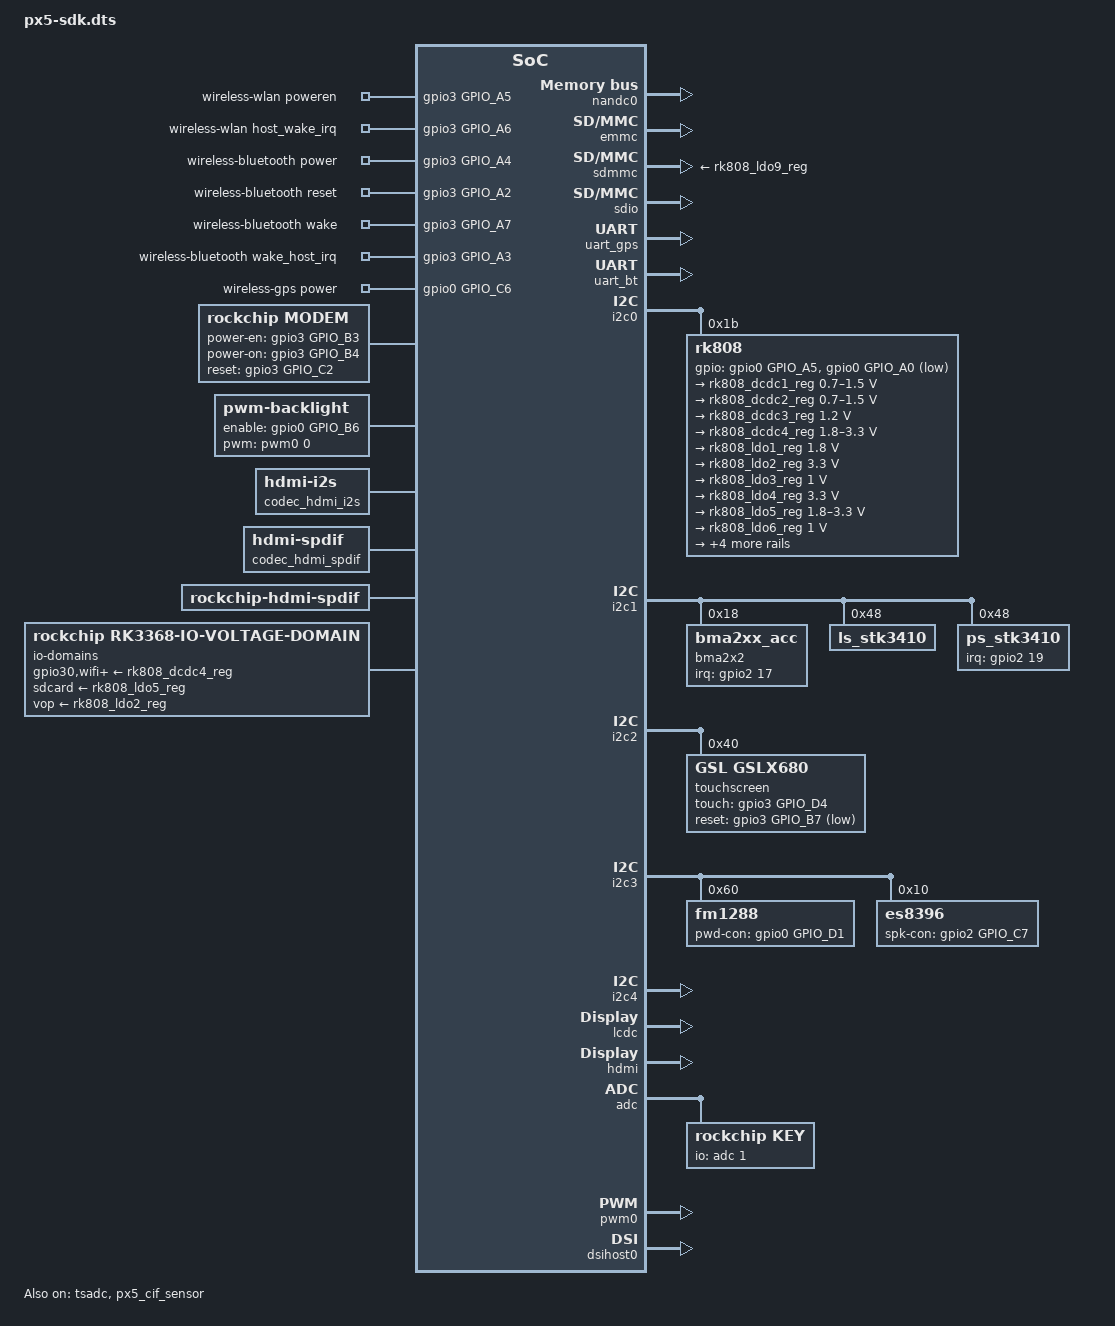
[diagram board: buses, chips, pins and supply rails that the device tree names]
/dts-v1/;

#include <dt-bindings/interrupt-controller/arm-gic.h>
#include <dt-bindings/rkfb/rk_fb.h>
#include "px5.dtsi"
//#include <../../../arm/boot/dts/lcd-claa070wp03xg.dtsi>
//#include <../../../arm/boot/dts/lcd-kd080d24h6-mipi.dtsi>
#include <../../../arm/boot/dts/lcd-kd080d34b6-mipi.dtsi>
#include "px5-cif-sensor.dtsi"
#include <dt-bindings/suspend/rockchip-px5.h>
#include <dt-bindings/touchscreen_type.h>

/ {
	chosen {
		bootargs = "earlyprintk=uart8250-32bit,0xff1c0000";
	};

	fiq-debugger {
		rockchip,serial-id = <4>;
		pinctrl-names = "default";
		pinctrl-0 = <&uart4_xfer>;
		status = "okay";
	};

	wireless-wlan {
		compatible = "wlan-platdata";
		rockchip,grf = <&grf>;

		/* wifi_chip_type - wifi chip define
		* ap6210, ap6330, ap6335
		* rtl8188eu, rtl8723bs, rtl8723bu
		* esp8089
		*/
		wifi_chip_type = "rtl8723bs_vq0";

		sdio_vref = <3300>; //1800mv or 3300mv

		//keep_wifi_power_on;

		//power_ctrl_by_pmu;
 		power_pmu_regulator = "vccio";
		power_pmu_enable_level = <1>; //1->HIGH, 0->LOW

		//vref_ctrl_enable;
		//vref_ctrl_gpio = <&gpio0 GPIO_A2 GPIO_ACTIVE_HIGH>;
		vref_pmu_regulator = "vccio";
		vref_pmu_enable_level = <1>; //1->HIGH, 0->LOW

		WIFI,poweren_gpio = <&gpio3 GPIO_A5 GPIO_ACTIVE_HIGH>;
		WIFI,host_wake_irq = <&gpio3 GPIO_A6 GPIO_ACTIVE_HIGH>;
		//WIFI,reset_gpio = <&gpio0 GPIO_A2 GPIO_ACTIVE_LOW>;

		status = "okay";
	};

	wireless-bluetooth {
		compatible = "bluetooth-platdata";

		//wifi-bt-power-toggle;
		keep_bt_power_on;

		//uart_rts_gpios = <&gpio2 GPIO_D3 GPIO_ACTIVE_LOW>;
		//pinctrl-names = "default","rts_gpio";
		//pinctrl-0 = <&uart0_rts>;
		//pinctrl-1 = <&uart0_rts_gpio>;

		BT,power_gpio = <&gpio3 GPIO_A4 GPIO_ACTIVE_HIGH>;
		BT,reset_gpio = <&gpio3 GPIO_A2 GPIO_ACTIVE_HIGH>;
		BT,wake_gpio = <&gpio3 GPIO_A7 GPIO_ACTIVE_HIGH>;
		BT,wake_host_irq = <&gpio3 GPIO_A3 GPIO_ACTIVE_HIGH>;

		status = "okay";
	};

	wireless-gps {
		compatible = "gps-platdata";
		keep_gps_power_on;
		GPS,power_gpio = <&gpio0 GPIO_C6 GPIO_ACTIVE_HIGH>;
		status = "okay";
	};

	modem {
		compatible = "rockchip,modem";
		status = "okay";
		power-en_gpio = <&gpio3 GPIO_B3 GPIO_ACTIVE_HIGH>;
		power-on_gpio = <&gpio3 GPIO_B4 GPIO_ACTIVE_HIGH>;
		reset_gpio = <&gpio3 GPIO_C2 GPIO_ACTIVE_HIGH>;
	};

	backlight: backlight {
		compatible = "pwm-backlight";
		pwms = <&pwm0 0 25000>;
		brightness-levels = <0 1 2 3 4 5 6 7 8 9 10 11 12 13 14 15 16 17 18
			19 20 21 22 23 24 25 26 27 28 29 30 31 32 33 34 35 36 37 38 39 40 41
			42 43 44 45 46 47 48 49 50 51 52 53 54 55 56 57 58 59 60 61 62 63 64
			65 66 67 68 69 70 71 72 73 74 75 76 77 78 79 80 81 82 83 84 85 86 87
			88 89 90 91 92 93 94 95 96 97 98 99 100 101 102 103 104 105 106 107 108 109
			110 111 112 113 114 115 116 117 118 119 120 121 122 123 124 125 126 127 128
			129 130 131 132 133 134 135 136 137 138 139 140 141 142 143 144 145 146 147
			148 149 150 151 152 153 154 155 156 157 158 159 160 161 162 163 164 165 166
			167 168 169 170 171 172 173 174 175 176 177 178 179 180 181 182 183 184 185
			186 187 188 189 190 191 192 193 194 195 196 197 198 199 200 201 202 203 204
			205 206 207 208 209 210 211 212 213 214 215 216 217 218 219 220 221 222 223
			224 225 226 227 228 229 230 231 232 233 234 235 236 237 238 239 240 241 242
			243 244 245 246 247 248 249 250 251 252 253 254 255>;
		default-brightness-level = <200>;
		enable-gpios = <&gpio0 GPIO_B6 GPIO_ACTIVE_HIGH>;
	};

	codec_hdmi_i2s: codec-hdmi-i2s {
		compatible = "hdmi-i2s";
	};

	codec_hdmi_spdif: codec-hdmi-spdif {
		compatible = "hdmi-spdif";
	};

	gpio-det {
		compatible = "gpio-detection";
		status = "okay";

		pinctrl-0 = <&gpio3_b1 &gpio3_b2>;
		pinctrl-names = "default";
		car-reverse {
			gpios = <&gpio3 GPIO_B2 GPIO_ACTIVE_LOW>;
			linux,debounce-ms = <5>;
			label = "car-reverse";
			gpio,wakeup;
		};

		car-acc {
			gpios = <&gpio3 GPIO_B1 GPIO_ACTIVE_LOW>;
			linux,debounce-ms = <5>;
			label = "car-acc";
			gpio,wakeup;
		};
	};

	rockchip-hdmi-i2s {
		compatible = "rockchip-hdmi-i2s";
		dais {
			dai0 {
				audio-codec = <&codec_hdmi_i2s>;
				audio-controller = <&i2s0>;
				format = "i2s";
				//continuous-clock;
				//bitclock-inversion;
				//frame-inversion;
				//bitclock-master;
				//frame-master;
			};
		};
	};

	rockchip-hdmi-spdif {
		compatible = "rockchip-hdmi-spdif";
		dais {
			dai0 {
				audio-codec = <&codec_hdmi_spdif>;
				audio-controller = <&spdif>;
			};
		};
	};

	rockchip-es8396 {
		compatible = "rockchip-es8396";
		dais {
			dai0 {
				audio-codec = <&es8396>;
				audio-controller = <&i2s0>;
				format = "i2s";
			};
			dai1 {
				audio-codec = <&es8396>;
				audio-controller = <&i2s0>;
				format = "i2s";
			};
		};
	};

	io-domains {
		compatible = "rockchip,rk3368-io-voltage-domain";
		rockchip,grf = <&grf>;
		rockchip,pmugrf = <&pmugrf>;

		/*GRF_IO_VSEL*/
		gpio30-supply = <&rk808_dcdc4_reg>;	/*APIO1_VDD*/
		wifi-supply = <&rk808_dcdc4_reg>;     /*APIO2_VDD*/
		audio-supply = <&rk808_dcdc4_reg>;   /*APIO3_VDD*/
		gpio1830-supply = <&rk808_dcdc4_reg>;	/*APIO4_VDD*/
		sdcard-supply = <&rk808_ldo5_reg>;   /*SDMMC_VDD*/

		/*PMU_GRF_IO_VSEL*/
		pmu-supply = <&rk808_dcdc4_reg>;      /*PMUIO_VDD*/
		vop-supply = <&rk808_ldo2_reg>;      /*LCDC_VDD*/
	};
	test-power{
		status = "okay";
	};
};


&gmac_clkin {
	clock-frequency = <125000000>;
};

&pinctrl {
	//used for init some gpio
	init-gpios = <&gpio0 GPIO_A6 GPIO_ACTIVE_HIGH>, <&gpio0 GPIO_A3 GPIO_ACTIVE_LOW>;

	gpio0_gpio {
		gpio0_c7: gpio0-c7 {
			rockchip,pins = <0 GPIO_C7 RK_FUNC_GPIO &pcfg_pull_down>;
		};
		gpio0_a3: gpio0-a3 {
			rockchip,pins = <0 GPIO_A3 RK_FUNC_3 &pcfg_pull_none>;
		};
		gpio0_c2: gpio0-c2 {
			rockchip,pins = <0 GPIO_C2 RK_FUNC_GPIO &pcfg_pull_down>;
		};
		gpio0_c1: gpio0-c1 {
			rockchip,pins = <0 GPIO_C1 RK_FUNC_GPIO &pcfg_pull_up>;
		};
		gpio2_c1: gpio2-c1 {
			rockchip,pins = <2 GPIO_C1 RK_FUNC_GPIO &pcfg_pull_up>;
		};
		gpio2_c3: gpio2-c3 {
			rockchip,pins = <2 GPIO_C3 RK_FUNC_GPIO &pcfg_pull_up>;
		};

		gpio3_b1: gpio3-b1 {
			rockchip,pins = <3 GPIO_B1 RK_FUNC_GPIO &pcfg_pull_up>;
		};

		gpio3_b2: gpio3-b2 {
			rockchip,pins = <3 GPIO_B2 RK_FUNC_GPIO &pcfg_pull_up>;
		};
		//to add
	};

};

&nandc0 {
	/*set "okay" both nand and emmc*/
	/*if using nand,emmc need disabled*/
	status = "okay";
};

&nandc0reg {
	status = "disabled"; /* unused now,set "disabled"*/
};

&emmc {
	clock-frequency = <150000000>;
	clock-freq-min-max = <400000 150000000>;

	supports-highspeed;
	supports-emmc;
	bootpart-no-access;

	//supports-sd;
	supports-DDR_MODE; //you should set the two value in your project. only close in RK3288-SDK board.
	caps2-mmc-hs200;

	ignore-pm-notify;
	keep-power-in-suspend;

	//poll-hw-reset
	status = "okay";
};

&sdmmc {
	clock-frequency = <37500000>;
	clock-freq-min-max = <400000 37500000>;
	supports-highspeed;
	supports-sd;
	broken-cd;
	card-detect-delay = <200>;

	ignore-pm-notify;
	keep-power-in-suspend;

	vmmc-supply = <&rk808_ldo9_reg>;
	status = "okay";
};

&sdio {
	clock-frequency = <50000000>;
	clock-freq-min-max = <200000 50000000>;
	supports-highspeed;
	supports-sdio;
	ignore-pm-notify;
	keep-power-in-suspend;
	//cap-sdio-irq;
	status = "okay";
};

&uart_gps {
	status = "okay";
	dma-names = "!tx", "!rx";
	pinctrl-0 = <&uart0_xfer &uart0_cts>;
};

&uart_bt {
	status = "okay";
	dma-names = "!tx", "!rx";
	pinctrl-0 = <&uart1_xfer &uart1_cts>;
};

&tsadc {
	tsadc-tshut-mode = <0>; /* tshut mode 0:CRU 1:GPIO */
	//tsadc-tshut-polarity = <0>; /* tshut polarity 0:LOW 1:HIGH */
	status = "okay";
};

&i2c0 {
	status = "okay";

	rk808: rk808@1b {
		reg = <0x1b>;
		status = "okay";
	};
};

&i2c1 {
	status = "okay";

	bma2x2:bma250@18 {
		compatible = "bma2xx_acc";
		reg = <0x18>;
		type = <SENSOR_TYPE_ACCEL>;
		pinctrl-names = "default";
		pinctrl-0 = <&gpio2_c1>;
		irq-gpio = <&gpio2 17 IRQ_TYPE_LEVEL_LOW>;
		irq_enable = <1>;
		poll_delay_ms = <200>;
		layout = <6>;
	};

	ls_stk3410:light@48 {
		compatible = "ls_stk3410";
		reg = <0x48>;
		type = <SENSOR_TYPE_LIGHT>;
		//pinctrl-names = "default";
		//pinctrl-0 = <&gpio2_c3>;
		//irq-gpio = <&gpio2 19 IRQ_TYPE_LEVEL_LOW>;
		irq_enable = <0>;
		als_threshold_high = <100>;
		als_threshold_low = <10>;
		als_ctrl_gain = <2>; /* 0:x1 1:x4 2:x16 3:x64 */
		poll_delay_ms = <100>;
	};

	ps_stk3410:proximity@48 {
		compatible = "ps_stk3410";
		reg = <0x48>;
		type = <SENSOR_TYPE_PROXIMITY>;
		pinctrl-names = "default";
		pinctrl-0 = <&gpio2_c3>;
		irq-gpio = <&gpio2 19 IRQ_TYPE_LEVEL_LOW>;
		irq_enable = <1>;
		ps_threshold_high = <0x200>;
		ps_threshold_low = <0x100>;
		ps_ctrl_gain = <3>; /* 0:x1 1:x4 2:x16 3:x64 */
		ps_led_current = <3>; /* 0:12.5mA 1:25mA 2:50mA 3:100mA */
		poll_delay_ms = <100>;
	};
};

&i2c2 {
	status = "okay";

	touchscreen@40{
		compatible = "GSL,GSLX680";
		reg = <0x40>;
		touch-gpio = <&gpio3 GPIO_D4 IRQ_TYPE_EDGE_RISING>;
		reset-gpio = <&gpio3 GPIO_B7 GPIO_ACTIVE_LOW>;
		touchscreen-type = <TOUCHSCREEN_INCH_8>;
		status = "okay";
	};
};

&i2c3 {
	status = "okay";

	fm1288@60{
		compatible = "fm1288";
		reg = <0x60>;
		pwd-con-gpio = <&gpio0 GPIO_D1 GPIO_ACTIVE_HIGH>;
		status = "okay";
	};

	es8396: es8396@10 {
		compatible = "es8396";
		reg = <0x10>;
		spk-con-gpio = <&gpio2 GPIO_C7 GPIO_ACTIVE_HIGH>;
		status = "okay";
	};
};

&i2c4 {
	status = "okay";
};

&i2c5 {
	status = "disabled";
};

&lvds {
	status = "disabled";
};

&fb {
	rockchip,disp-mode = <NO_DUAL>;
	rockchip,uboot-logo-on = <0>;
};

&rk_screen {
	display-timings = <&disp_timings>;
};

&lcdc {
	status = "okay";
	backlight = <&backlight>;
	rockchip,mirror = <NO_MIRROR>;
	rockchip,cabc_mode = <0>;
	rockchip,fb-win-map = <FB_DEFAULT_ORDER>;
	power_ctr: power_ctr {
		rockchip,debug = <0>;

		lcd_18: lcd_18 {
			rockchip,power_type = <GPIO>;
			gpios = <&gpio2 GPIO_D3 GPIO_ACTIVE_HIGH>;
			rockchip,delay = <10>;
		};

		lcd_33: lcd_33 {
			rockchip,power_type = <REGULATOR>;
			rockchip,regulator_name = "vcc33_lcd";
			rockchip,regulator_voltage = <33000000>;
			rockchip,delay = <5>;
		};
/*
		lcd_cs:lcd_cs {
			rockchip,power_type = <GPIO>;
			gpios = <&gpio0 GPIO_C5 GPIO_ACTIVE_HIGH>;
			rockchip,delay = <10>;
		};
*/
		/*lcd_rst:lcd_rst {
			rockchip,power_type = <GPIO>;
			gpios = <&gpio3 GPIO_D6 GPIO_ACTIVE_HIGH>;
			rockchip,delay = <5>;
		};*/
	};
};

&hdmi {
	status = "okay";
};

&adc {
	status = "okay";

	key {
		compatible = "rockchip,key";
		io-channels = <&adc 1>;

		vol-up-key {
			linux,code = <115>;
			label = "volume up";
			rockchip,adc_value = <1>;
		};

		vol-down-key {
			linux,code = <114>;
			label = "volume down";
			rockchip,adc_value = <170>;
		};

		power-key {
			gpios = <&gpio0 GPIO_A2 GPIO_ACTIVE_LOW>;
			linux,code = <116>;
			label = "power";
			gpio-key,wakeup;
		};

		menu-key {
			linux,code = <59>;
			label = "menu";
			rockchip,adc_value = <355>;
		};

		home-key {
			linux,code = <102>;
			label = "home";
			rockchip,adc_value = <746>;
		};

		back-key {
			linux,code = <158>;
			label = "back";
			rockchip,adc_value = <560>;
		};

		camera-key {
			linux,code = <212>;
			label = "camera";
			rockchip,adc_value = <880>;
		};
	};
};

&pwm0 {
	status = "okay";
};

&clk_core_b_dvfs_table {
	operating-points = <
		/* KHz    uV */
		216000 950000
		312000 950000
		408000 950000
		600000 950000
		696000 950000
		816000 975000
		1008000 1050000
		1200000 1150000
		1296000 1225000
		1416000 1300000
		1512000 1350000
	>;
	support-pvtm = <0>;
	pvtm-operating-points = <
		/* KHz    uV    margin(uV)*/
		216000 950000   25000
		312000 950000   25000
		408000 950000   25000
		600000 950000   25000
		696000 950000   25000
		816000 975000   25000
		1008000 1050000 25000
		1200000 1150000 25000
		1296000 1225000 25000
		1416000 1300000 25000
		1512000 1350000 25000
	>;
	status = "okay";
};

&clk_core_l_dvfs_table {
	operating-points = <
		/* KHz    uV */
		216000 950000
		312000 950000
		408000 950000
		600000 950000
		696000 975000
		816000 1025000
		1008000 1125000
		1200000 1225000
	>;
	support-pvtm = <0>;
	pvtm-operating-points = <
		/* KHz    uV    margin(uV)*/
		216000 950000   25000
		312000 950000   25000
		408000 950000   25000
		600000 950000   25000
		696000 975000   25000
		816000 1025000  25000
		1008000 1125000 25000
		1200000 1225000 25000
	>;
	status = "okay";
};

&clk_gpu_dvfs_table {
	operating-points = <
		/* KHz    uV */
		200000 950000
		288000 1025000
		400000 1050000
		576000 1200000
	>;
};

&clk_ddr_dvfs_table {
	operating-points = <
		/* KHz    uV */
		96000  950000
		192000 950000
		300000 950000
		324000 975000
		396000 1000000
		528000 1050000
		600000 1075000
		696000 1100000
		792000 1125000
	>;

	freq-table = <
		/*status		freq(KHz)*/
		SYS_STATUS_NORMAL	600000
		SYS_STATUS_SUSPEND	192000
		SYS_STATUS_VIDEO_1080P  324000
		SYS_STATUS_VIDEO_4K     600000
		SYS_STATUS_VIDEO_4K_60FPS     600000
		SYS_STATUS_PERFORMANCE  600000
		SYS_STATUS_DUALVIEW	600000
		SYS_STATUS_BOOST	396000
		SYS_STATUS_ISP		600000
	>;
	auto-freq-table = <
		240000
		324000
		396000
		528000
	>;
	auto-freq=<0>;
	status="okay";
};

&dwc_control_usb {
	/*host_drv_gpio = <&gpio0 GPIO_A4 GPIO_ACTIVE_LOW>;*/
	otg_drv_gpio = <&gpio0 GPIO_A4 GPIO_ACTIVE_LOW>;

	rockchip,remote_wakeup;
	rockchip,usb_irq_wakeup;
};

/include/ "../../../arm/boot/dts/rk808.dtsi"
&rk808 {
	pinctrl-names = "default";
	pinctrl-0 = <&pmic_int>;
	gpios = <&gpio0 GPIO_A5 GPIO_ACTIVE_HIGH>,<&gpio0 GPIO_A0 GPIO_ACTIVE_LOW>;
	rk808,system-power-controller;

	regulators {
		rk808_dcdc1_reg: regulator@0{
			regulator-name= "vdd_arm";
			regulator-min-microvolt = <700000>;
			regulator-max-microvolt = <1500000>;
			regulator-always-on;
			regulator-boot-on;
			regulator-initial-mode = <0x2>;
			regulator-initial-state = <3>;
			regulator-state-mem {
				regulator-state-mode = <0x2>;
				regulator-state-disabled;
				regulator-state-uv = <900000>;
			};
		};

		rk808_dcdc2_reg: regulator@1 {
			regulator-name= "vdd_logic";
			regulator-min-microvolt = <700000>;
			regulator-max-microvolt = <1500000>;
			regulator-always-on;
			regulator-boot-on;
			regulator-initial-mode = <0x2>;
			regulator-initial-state = <3>;
			regulator-state-mem {
				regulator-state-mode = <0x2>;
				regulator-state-enabled;
				regulator-state-uv = <900000>;
			};
		};

		rk808_dcdc3_reg: regulator@2 {
			regulator-name= "vcc_ddr";
			regulator-min-microvolt = <1200000>;
			regulator-max-microvolt = <1200000>;
			regulator-always-on;
			regulator-boot-on;
			regulator-initial-mode = <0x2>;
			regulator-initial-state = <3>;
			regulator-state-mem {
				regulator-state-mode = <0x2>;
				regulator-state-enabled;
				regulator-state-uv = <1200000>;
			};
		};

		rk808_dcdc4_reg: regulator@3 {
			regulator-name= "vccio";
			regulator-min-microvolt = <1800000>;
			regulator-max-microvolt = <3300000>;
			regulator-always-on;
			regulator-boot-on;
			regulator-initial-mode = <0x2>;
			regulator-initial-state = <3>;
			regulator-state-mem {
				regulator-state-mode = <0x2>;
				regulator-state-enabled;
				regulator-state-uv = <2800000>;
			};
		};

		rk808_ldo1_reg: regulator@4 {
			regulator-name= "vcc18_flash";
			regulator-min-microvolt = <1800000>;
			regulator-max-microvolt = <1800000>;
			regulator-always-on;
			regulator-boot-on;
			regulator-initial-state = <3>;
			regulator-state-mem {
				regulator-state-enabled;
				regulator-state-uv = <1800000>;
			};
		};

		rk808_ldo2_reg: regulator@5 {
			regulator-name= "vcca_3v3";
			regulator-min-microvolt = <3300000>;
			regulator-max-microvolt = <3300000>;
			regulator-always-on;
			regulator-boot-on;
			regulator-initial-state = <3>;
			regulator-state-mem {
				regulator-state-disabled;
				regulator-state-uv = <3300000>;
			};
		};

		rk808_ldo3_reg: regulator@6 {
			regulator-name= "vdd_10";
			regulator-min-microvolt = <1000000>;
			regulator-max-microvolt = <1000000>;
			regulator-always-on;
			regulator-boot-on;
			regulator-initial-state = <3>;
			regulator-state-mem {
				regulator-state-enabled;
				regulator-state-uv = <1000000>;
			};
		};

		rk808_ldo4_reg:regulator@7 {
			regulator-name= "vdd_camera";
			regulator-min-microvolt = <3300000>;
			regulator-max-microvolt = <3300000>;
			regulator-always-on;
			regulator-boot-on;
			regulator-initial-state = <3>;
			regulator-state-mem {
				regulator-state-disabled;
				regulator-state-uv = <3300000>;
			};
		};

		rk808_ldo5_reg: regulator@8 {
			regulator-name= "vccio_sd";
			regulator-min-microvolt = <1800000>;
			regulator-max-microvolt = <3300000>;
			regulator-always-on;
			regulator-boot-on;
			regulator-initial-state = <3>;
			regulator-state-mem {
				regulator-state-enabled;
				regulator-state-uv = <3300000>;
			};
		};

		rk808_ldo6_reg: regulator@9 {
			regulator-name= "vdd10_lcd";
			regulator-min-microvolt = <1000000>;
			regulator-max-microvolt = <1000000>;
			regulator-always-on;
			regulator-boot-on;
			regulator-initial-state = <3>;
			regulator-state-mem {
				regulator-state-disabled;
				regulator-state-uv = <1000000>;
			};
		};

		rk808_ldo7_reg: regulator@10 {
			regulator-name= "vcc_18";
			regulator-min-microvolt = <1800000>;
			regulator-max-microvolt = <1800000>;
			regulator-always-on;
			regulator-boot-on;
			regulator-initial-state = <3>;
			regulator-state-mem {
				regulator-state-enabled;
				regulator-state-uv = <1800000>;
			};
		};

		rk808_ldo8_reg: regulator@11 {
			regulator-name= "vcc18_lcd";
			regulator-min-microvolt = <1800000>;
			regulator-max-microvolt = <1800000>;
			regulator-always-on;
			regulator-boot-on;
			regulator-initial-state = <3>;
			regulator-state-mem {
				regulator-state-disabled;
				regulator-state-uv = <1800000>;
			};
		};

		rk808_ldo9_reg: regulator@12 {
			regulator-name= "vcc_sd";
			regulator-always-on;
			regulator-boot-on;
			regulator-initial-state = <3>;
			regulator-state-mem {
				regulator-state-disabled;
			};
		};

		rk808_ldo10_reg: regulator@13 {
			regulator-name= "vcc33_lcd";
			regulator-boot-on;
			regulator-initial-state = <3>;
			regulator-state-mem {
				regulator-state-disabled;
			};
		};
	};
};

/* the second val is size, set 40MB default */
&ion_cma {
	reg = <0x00000000 0x02800000>;
};

&px5_cif_sensor{
	status = "okay";
};

&rockchip_suspend {
	rockchip,ctrbits = <
		(0
		| RKPM_SLP_ARMOFF
		| RKPM_SLP_PMU_PLLS_PWRDN
		| RKPM_SLP_PMU_PMUALIVE_32K
		| RKPM_SLP_SFT_PLLS_DEEP
		| RKPM_SLP_PMU_DIS_OSC
		| RKPM_SLP_SFT_PD_NBSCUS
		)
	>;
};

&dsihost0{
	status = "okay";
};
